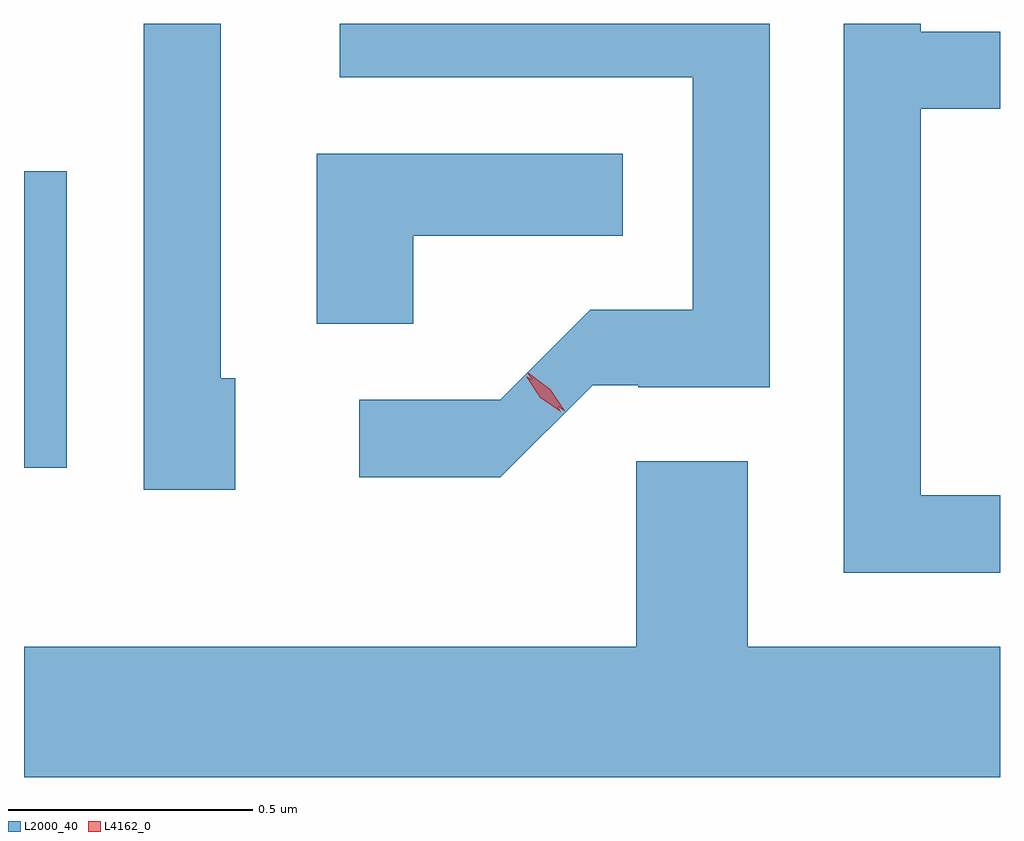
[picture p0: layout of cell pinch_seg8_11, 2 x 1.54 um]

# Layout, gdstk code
import gdstk
lib = gdstk.Library(unit=1e-6, precision=1e-09)
def R(c, l, rs):  # rectangles x0, y0, x1, y1
    for r in rs: c.add(gdstk.rectangle(r[:2], r[2:], *l))
def P(c, l, *ps):  # polygons
    for p in ps: c.add(gdstk.Polygon(p, *l))
L2000_40 = (2000, 40)
L4162_0 = (4162, 0)

pinch_seg8_11 = lib.new_cell('pinch_seg8_11')
R(pinch_seg8_11, L2000_40, [(1075.686,1890.331,1075.774,1890.938)])
P(pinch_seg8_11, L2000_40, [(1076.119,1890.514),(1076.089,1890.514),(1076.089,1891.241),(1075.931,1891.241),(1075.931,1890.286),(1076.119,1890.286)],
  [(1077.686,1890.274),(1077.524,1890.274),(1077.524,1891.066),(1077.686,1891.066),(1077.686,1891.224),(1077.524,1891.224),(1077.524,1891.241),(1077.366,1891.241),(1077.366,1890.116),(1077.686,1890.116)],
  [(1076.851,1890.5),(1076.945,1890.5),(1076.945,1890.496),(1077.214,1890.496),(1077.214,1891.241),(1076.333,1891.241),(1076.333,1891.131),(1077.056,1891.131),(1077.056,1890.654),(1076.846,1890.654),(1076.662,1890.47),(1076.373,1890.47),(1076.373,1890.311),(1076.662,1890.311)],
  [(1076.484,1890.806),(1076.913,1890.806),(1076.913,1890.974),(1076.286,1890.974),(1076.286,1890.626),(1076.484,1890.626)],
  [(1077.686,1889.964),(1077.169,1889.964),(1077.169,1890.344),(1076.941,1890.344),(1076.941,1889.964),(1075.686,1889.964),(1075.686,1889.696),(1077.686,1889.696)])
P(pinch_seg8_11, L4162_0, [(1076.794,1890.446),(1076.749,1890.479),(1076.718,1890.524),(1076.718,1890.525),(1076.719,1890.525),(1076.764,1890.492),(1076.794,1890.447),(1076.794,1890.446)],
  [(1076.786,1890.445),(1076.744,1890.474),(1076.716,1890.516),(1076.716,1890.517),(1076.717,1890.517),(1076.759,1890.488),(1076.786,1890.445),(1076.786,1890.445)])

lib.write_gds('pinch_seg8_11.gds')
